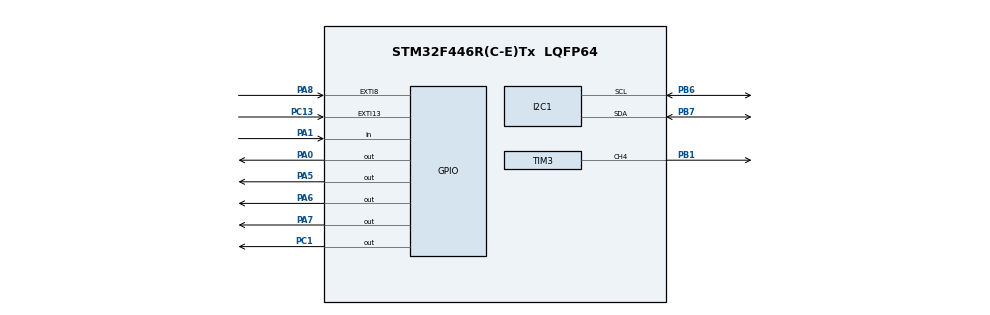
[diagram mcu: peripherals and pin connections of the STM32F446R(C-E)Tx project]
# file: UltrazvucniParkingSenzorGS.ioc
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Mcu.Family=STM32F4
Mcu.Name=STM32F446R(C-E)Tx
Mcu.Package=LQFP64
NVIC.EXTI15_10_IRQn=true\:2\:0\:true\:false\:true\:true\:true\:true
NVIC.EXTI9_5_IRQn=true\:2\:0\:true\:false\:true\:true\:true\:true
NVIC.PriorityGroup=NVIC_PRIORITYGROUP_4
PA0-WKUP.Signal=GPIO_Output
PA1.Signal=GPIO_Input
PA13.Mode=Serial_Wire
PA13.Signal=SYS_JTMS-SWDIO
PA14.Mode=Serial_Wire
PA14.Signal=SYS_JTCK-SWCLK
PA5.Signal=GPIO_Output
PA6.Signal=GPIO_Output
PA7.Signal=GPIO_Output
PA8.GPIO_ModeDefaultEXTI=GPIO_MODE_IT_FALLING
PA8.GPIO_PuPd=GPIO_PULLUP
PA8.Signal=GPXTI8
PB1.Signal=S_TIM3_CH4
PB6.Mode=I2C
PB6.Signal=I2C1_SCL
PB7.Mode=I2C
PB7.Signal=I2C1_SDA
PC1.Signal=GPIO_Output
PC13.GPIO_ModeDefaultEXTI=GPIO_MODE_IT_FALLING
PC13.GPIO_PuPd=GPIO_PULLUP
PC13.Signal=GPXTI13
PH0-OSC_IN.Mode=HSE-External-Oscillator
PH0-OSC_IN.Signal=RCC_OSC_IN
PH1-OSC_OUT.Mode=HSE-External-Oscillator
PH1-OSC_OUT.Signal=RCC_OSC_OUT
ProjectManager.HeapSize=0x200
ProjectManager.StackSize=0x400
ProjectManager.TargetToolchain=STM32CubeIDE
RCC.CortexFreq_Value=16000000
RCC.USBFreq_Value=96000000
RCC.VCOOutputFreq_Value=192000000
SH.S_TIM3_CH4.0=TIM3_CH4,PWM Generation4 CH4
TIM1.Prescaler=15
TIM3.Channel-PWM\ Generation4\ CH4=TIM_CHANNEL_4
TIM3.Period=999
TIM3.Prescaler=15
VP_TIM1_VS_ClockSourceINT.Mode=Internal
VP_TIM3_VS_ClockSourceINT.Mode=Internal
board=custom

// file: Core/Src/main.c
/* USER CODE BEGIN Header */
/**
  ******************************************************************************
  * @file           : main.c
  * @brief          : Main program body
  ******************************************************************************
  * @attention
  *
  * Copyright (c) 2026 STMicroelectronics.
  * All rights reserved.
  *
  * This software is licensed under terms that can be found in the LICENSE file
  * in the root directory of this software component.
  * If no LICENSE file comes with this software, it is provided AS-IS.
  *
  ******************************************************************************
  */
/* USER CODE END Header */
#include "main.h"
#include "i2c.h"
#include "tim.h"
#include "gpio.h"

/* USER CODE BEGIN Includes */
#include "stdio.h"
#include "string.h"
/* USER CODE END Includes */

/* USER CODE BEGIN PD */
#define DIST_SIGURNO   50
#define DIST_OPREZ     30
#define DIST_BLIZU     15
/* USER CODE END PD */

/* USER CODE BEGIN PV */
uint8_t sustav_aktivan = 1;
uint8_t mjerenje_pauzirano = 0;
uint8_t sustav_resetiran = 0;

/* USER CODE END PV */

void SystemClock_Config(void);

/* USER CODE BEGIN 0 */
void delay_us(uint16_t us)
{
    __HAL_TIM_SET_COUNTER(&htim1, 0);
    while (__HAL_TIM_GET_COUNTER(&htim1) < us);
}

uint32_t mjeri_udaljenost(void)
{
    uint32_t t1, t2;
    uint32_t timeout;

    HAL_GPIO_WritePin(GPIOA, GPIO_PIN_0, GPIO_PIN_RESET);
    delay_us(2);
    HAL_GPIO_WritePin(GPIOA, GPIO_PIN_0, GPIO_PIN_SET);
    delay_us(10);
    HAL_GPIO_WritePin(GPIOA, GPIO_PIN_0, GPIO_PIN_RESET);

    timeout = HAL_GetTick() + 30;
    while (HAL_GPIO_ReadPin(GPIOA, GPIO_PIN_1) == GPIO_PIN_RESET)
    {
        if (HAL_GetTick() > timeout) return 999;
    }
    t1 = __HAL_TIM_GET_COUNTER(&htim1);

    timeout = HAL_GetTick() + 30;
    while (HAL_GPIO_ReadPin(GPIOA, GPIO_PIN_1) == GPIO_PIN_SET)
    {
        if (HAL_GetTick() > timeout) return 999;
    }
    t2 = __HAL_TIM_GET_COUNTER(&htim1);

    if (t2 < t1) t2 += 65536;
    return (t2 - t1) * 17 / 1000;
}

#define LCD_ADDR  (0x27 << 1)
#define LCD_RS    0x01
#define LCD_EN    0x04
#define LCD_BL    0x08

void lcd_i2c_send(uint8_t data)
{
    HAL_I2C_Master_Transmit(&hi2c1, LCD_ADDR, &data, 1, 10);
}

void lcd_nibble(uint8_t nibble, uint8_t rs)
{
    uint8_t d = (nibble & 0xF0) | LCD_BL | rs;
    lcd_i2c_send(d | LCD_EN);
    HAL_Delay(1);
    lcd_i2c_send(d & ~LCD_EN);
    HAL_Delay(1);
}

void lcd_byte(uint8_t b, uint8_t rs)
{
    lcd_nibble(b & 0xF0, rs);
    lcd_nibble((b << 4) & 0xF0, rs);
}

void lcd_cmd(uint8_t cmd)   { lcd_byte(cmd, 0); }
void lcd_char(char c)       { lcd_byte((uint8_t)c, LCD_RS); }

void lcd_print(const char *s)
{
    while (*s) lcd_char(*s++);
}

void lcd_pos(uint8_t row, uint8_t col)
{
    lcd_cmd((row == 0 ? 0x80 : 0xC0) + col);
}

void lcd_clear(void)
{
    lcd_cmd(0x01);
    HAL_Delay(2);
}

void lcd_init(void)
{
    HAL_Delay(50);
    lcd_nibble(0x30, 0); HAL_Delay(5);
    lcd_nibble(0x30, 0); HAL_Delay(1);
    lcd_nibble(0x30, 0); HAL_Delay(1);
    lcd_nibble(0x20, 0); HAL_Delay(1);
    lcd_cmd(0x28);
    lcd_cmd(0x08);
    lcd_cmd(0x01); HAL_Delay(2);
    lcd_cmd(0x06);
    lcd_cmd(0x0C);
}
/* USER CODE END 0 */

int main(void)
{

  /* MCU Configuration--------------------------------------------------------*/

  /* Reset of all peripherals, Initializes the Flash interface and the Systick. */
  HAL_Init();

  /* Configure the system clock */
  SystemClock_Config();

  /* Initialize all configured peripherals */
  MX_GPIO_Init();
  MX_I2C1_Init();
  MX_TIM1_Init();
  MX_TIM3_Init();
  /* USER CODE BEGIN 2 */
  HAL_TIM_Base_Start(&htim1);

  lcd_init();
  lcd_clear();
  lcd_pos(0, 0);
  lcd_print("Parking senzor");
  lcd_pos(1, 0);
  lcd_print("  Pokretanje...");
  HAL_Delay(2000);
  lcd_clear();

  uint32_t udaljenost = 0;
  uint32_t zadnji_blink = 0;
  uint8_t buzzer_stanje = 0;
  uint32_t period_blinka = 0;
  char lcd_redak[17];
  /* USER CODE END 2 */

  /* Infinite loop */
  /* USER CODE BEGIN WHILE */
  while (1)
  {
	  if(sustav_resetiran)
	      {
	          sustav_resetiran = 0;
	          lcd_clear();
	          if(sustav_aktivan)
	          {
	              lcd_pos(0, 0);
	              lcd_print("  SUSTAV AKTIVAN");
	              HAL_Delay(1000);
	              lcd_clear();
	          }
	          else
	          {
	              lcd_pos(0, 0);
	              lcd_print("  SUSTAV UGASEN ");
	          }
	      }

	      if(!sustav_aktivan)
	      {
	          HAL_Delay(100);
	          continue;
	      }

	      if(mjerenje_pauzirano)
	      {
	    	  lcd_pos(1, 0);
	    	      lcd_print("   PAUZIRANO    ");
	    	      HAL_Delay(100);
	    	      continue;
	      }

	      udaljenost = mjeri_udaljenost();

	      lcd_pos(0, 0);
	      if (udaljenost >= 999)
	          lcd_print("Dist:  --- cm   ");
	      else
	      {
	          snprintf(lcd_redak, sizeof(lcd_redak), "Dist: %3lu cm    ", udaljenost);
	          lcd_print(lcd_redak);
	      }

	      if (udaljenost > DIST_SIGURNO)
	      {
	          HAL_GPIO_WritePin(GPIOA, GPIO_PIN_5, GPIO_PIN_SET);
	          HAL_GPIO_WritePin(GPIOA, GPIO_PIN_6, GPIO_PIN_RESET);
	          HAL_GPIO_WritePin(GPIOA, GPIO_PIN_7, GPIO_PIN_RESET);
	          HAL_TIM_PWM_Stop(&htim3, TIM_CHANNEL_4);
	          period_blinka = 0;
	          lcd_pos(1, 0);
	          lcd_print("   SIGURNO      ");
	      }
	      else if (udaljenost > DIST_OPREZ)
	      {
	          HAL_GPIO_WritePin(GPIOA, GPIO_PIN_5, GPIO_PIN_RESET);
	          HAL_GPIO_WritePin(GPIOA, GPIO_PIN_6, GPIO_PIN_SET);
	          HAL_GPIO_WritePin(GPIOA, GPIO_PIN_7, GPIO_PIN_RESET);
	          period_blinka = 500;
	          lcd_pos(1, 0);
	          lcd_print("   OPREZ!       ");
	      }
	      else if (udaljenost > DIST_BLIZU)
	      {
	          HAL_GPIO_WritePin(GPIOA, GPIO_PIN_5, GPIO_PIN_RESET);
	          HAL_GPIO_WritePin(GPIOA, GPIO_PIN_6, GPIO_PIN_SET);
	          HAL_GPIO_WritePin(GPIOA, GPIO_PIN_7, GPIO_PIN_SET);
	          period_blinka = 150;
	          lcd_pos(1, 0);
	          lcd_print("  PAZI! BLIZU   ");
	      }
	      else
	      {
	          HAL_GPIO_WritePin(GPIOA, GPIO_PIN_5, GPIO_PIN_RESET);
	          HAL_GPIO_WritePin(GPIOA, GPIO_PIN_6, GPIO_PIN_RESET);
	          HAL_GPIO_WritePin(GPIOA, GPIO_PIN_7, GPIO_PIN_SET);
	          __HAL_TIM_SET_COMPARE(&htim3, TIM_CHANNEL_4, 500);
	          HAL_TIM_PWM_Start(&htim3, TIM_CHANNEL_4);
	          period_blinka = 0;
	          lcd_pos(1, 0);
	          lcd_print("  !! STANI !!   ");
	      }

	      if (period_blinka > 0)
	      {
	          uint32_t sad = HAL_GetTick();
	          if (sad - zadnji_blink >= period_blinka)
	          {
	              zadnji_blink = sad;
	              buzzer_stanje = !buzzer_stanje;
	              if (buzzer_stanje)
	              {
	                  __HAL_TIM_SET_COMPARE(&htim3, TIM_CHANNEL_4, 500);
	                  HAL_TIM_PWM_Start(&htim3, TIM_CHANNEL_4);
	              }
	              else
	              {
	                  HAL_TIM_PWM_Stop(&htim3, TIM_CHANNEL_4);
	              }
	          }
	      }

	      HAL_Delay(100);
    /* USER CODE END WHILE */

  }
}

void SystemClock_Config(void)
{
  RCC_OscInitTypeDef RCC_OscInitStruct = {0};
  RCC_ClkInitTypeDef RCC_ClkInitStruct = {0};

  /** Configure the main internal regulator output voltage
  */
  __HAL_RCC_PWR_CLK_ENABLE();
  __HAL_PWR_VOLTAGESCALING_CONFIG(PWR_REGULATOR_VOLTAGE_SCALE3);

  /** Initializes the RCC Oscillators according to the specified parameters
  * in the RCC_OscInitTypeDef structure.
  */
  RCC_OscInitStruct.OscillatorType = RCC_OSCILLATORTYPE_HSI;
  RCC_OscInitStruct.HSIState = RCC_HSI_ON;
  RCC_OscInitStruct.HSICalibrationValue = RCC_HSICALIBRATION_DEFAULT;
  RCC_OscInitStruct.PLL.PLLState = RCC_PLL_NONE;
  if (HAL_RCC_OscConfig(&RCC_OscInitStruct) != HAL_OK)
  {
    Error_Handler();
  }

  /** Initializes the CPU, AHB and APB buses clocks
  */
  RCC_ClkInitStruct.ClockType = RCC_CLOCKTYPE_HCLK|RCC_CLOCKTYPE_SYSCLK
                              |RCC_CLOCKTYPE_PCLK1|RCC_CLOCKTYPE_PCLK2;
  RCC_ClkInitStruct.SYSCLKSource = RCC_SYSCLKSOURCE_HSI;
  RCC_ClkInitStruct.AHBCLKDivider = RCC_SYSCLK_DIV1;
  RCC_ClkInitStruct.APB1CLKDivider = RCC_HCLK_DIV1;
  RCC_ClkInitStruct.APB2CLKDivider = RCC_HCLK_DIV1;

  if (HAL_RCC_ClockConfig(&RCC_ClkInitStruct, FLASH_LATENCY_0) != HAL_OK)
  {
    Error_Handler();
  }
}

/* USER CODE BEGIN 4 */

void HAL_GPIO_EXTI_Callback(uint16_t GPIO_Pin)
{
	if(GPIO_Pin == GPIO_PIN_13)
	    {
	        sustav_aktivan = !sustav_aktivan;
	        if(!sustav_aktivan)
	        {
	            HAL_GPIO_WritePin(GPIOA, GPIO_PIN_5, GPIO_PIN_RESET);
	            HAL_GPIO_WritePin(GPIOA, GPIO_PIN_6, GPIO_PIN_RESET);
	            HAL_GPIO_WritePin(GPIOA, GPIO_PIN_7, GPIO_PIN_RESET);
	            HAL_TIM_PWM_Stop(&htim3, TIM_CHANNEL_4);
	        }
	        sustav_resetiran = 1;
	    }
	    if(GPIO_Pin == GPIO_PIN_8)
	    {
	        if(sustav_aktivan)
	        {
	            mjerenje_pauzirano = !mjerenje_pauzirano;
	        }
	    }
	}

/* USER CODE END 4 */

void Error_Handler(void)
{
  __disable_irq();
  while (1)
  {
  }
}
